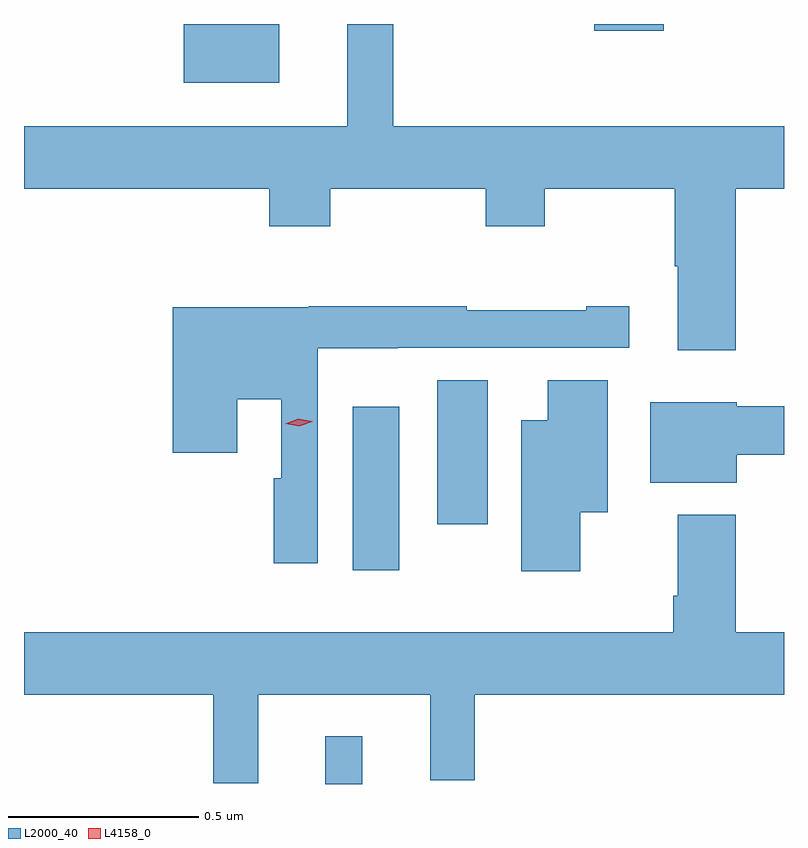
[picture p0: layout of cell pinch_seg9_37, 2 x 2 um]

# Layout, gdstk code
import gdstk
lib = gdstk.Library(unit=1e-6, precision=1e-09)
def R(c, l, rs):  # rectangles x0, y0, x1, y1
    for r in rs: c.add(gdstk.rectangle(r[:2], r[2:], *l))
def P(c, l, *ps):  # polygons
    for p in ps: c.add(gdstk.Polygon(p, *l))
L2000_40 = (2000, 40)
L4158_0 = (4158, 0)

pinch_seg9_37 = lib.new_cell('pinch_seg9_37')
R(pinch_seg9_37, L2000_40, [(911.876,1218.829,911.973,1218.955), (911.948,1219.392,912.07,1219.822), (912.17,1219.512,912.304,1219.892), (911.504,1220.675,911.755,1220.829), (912.584,1220.811,912.767,1220.829)])
P(pinch_seg9_37, L2000_40, [(912.956,1220.396),(913.083,1220.396),(913.083,1220.56),(912.055,1220.56),(912.055,1220.829),(911.933,1220.829),(911.933,1220.56),(911.083,1220.56),(911.083,1220.396),(911.729,1220.396),(911.729,1220.297),(911.889,1220.297),(911.889,1220.396),(912.298,1220.396),(912.298,1220.297),(912.453,1220.297),(912.453,1220.396),(912.796,1220.396),(912.796,1220.192),(912.803,1220.192),(912.803,1219.971),(912.956,1219.971)],
  [(911.856,1219.976),(912.066,1219.976),(912.066,1219.977),(912.676,1219.977),(912.676,1220.086),(912.563,1220.086),(912.563,1220.076),(912.248,1220.076),(912.248,1220.086),(911.832,1220.086),(911.832,1220.083),(911.474,1220.083),(911.474,1219.701),(911.644,1219.701),(911.644,1219.841),(911.76,1219.841),(911.76,1219.634),(911.74,1219.634),(911.74,1219.41),(911.856,1219.41)],
  [(912.547,1219.544),(912.619,1219.544),(912.619,1219.892),(912.461,1219.892),(912.461,1219.786),(912.392,1219.786),(912.392,1219.389),(912.547,1219.389)],
  [(912.958,1219.695),(913.083,1219.695),(913.083,1219.823),(912.958,1219.823),(912.958,1219.834),(912.731,1219.834),(912.731,1219.622),(912.958,1219.622)],
  [(911.699,1219.064),(912.152,1219.064),(912.152,1218.839),(912.269,1218.839),(912.269,1219.064),(913.083,1219.064),(913.083,1219.228),(912.956,1219.228),(912.956,1219.537),(912.803,1219.537),(912.803,1219.324),(912.791,1219.324),(912.791,1219.228),(911.083,1219.228),(911.083,1219.064),(911.581,1219.064),(911.581,1218.831),(911.699,1218.831)])
P(pinch_seg9_37, L4158_0, [(911.807,1219.77),(911.77,1219.777),(911.77,1219.777),(911.77,1219.777),(911.805,1219.79),(911.842,1219.783),(911.842,1219.783),(911.842,1219.782)])

lib.write_gds('pinch_seg9_37.gds')
